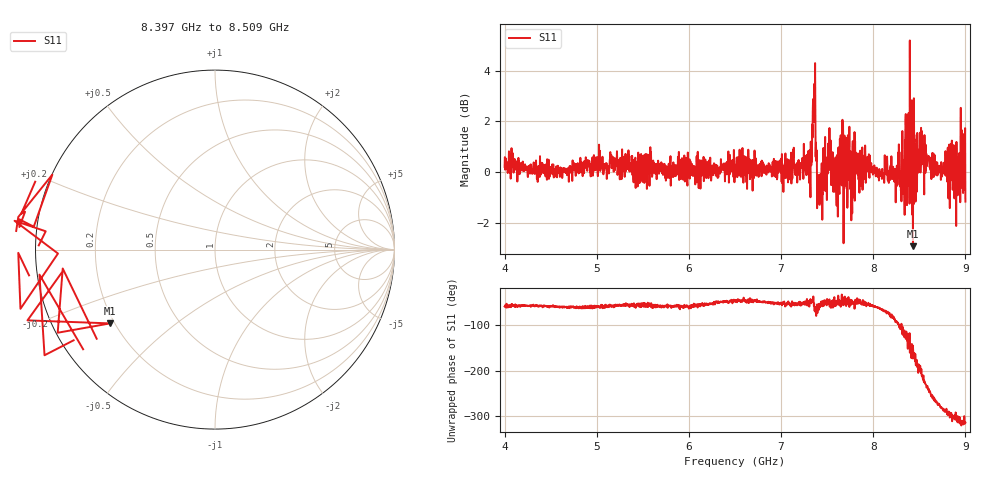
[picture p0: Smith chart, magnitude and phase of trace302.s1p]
! Created with skrf 1.8.0 (http://scikit-rf.org).
# Hz S RI R 50.0
!freq ReS11 ImS11
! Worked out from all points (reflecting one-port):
!   1601 points, 4 GHz to 9 GHz, reference 50 ohm
!   lowest |S11| = -2.9 dB at 8.431 GHz (marker M1), VSWR 6.01, Z = 9.12 - j15.3 ohm
!   phase of S11 starts at -59 deg and turns -255 deg over the sweep
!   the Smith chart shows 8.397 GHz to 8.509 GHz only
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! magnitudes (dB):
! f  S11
! 4 GHz  0.2
! 4.625 GHz  -0.2
! 5.25 GHz  -0.3
! 5.875 GHz  -0.1
! 6.5 GHz  0.1
! 7.125 GHz  0.5
! 7.294 GHz  -0.1
! 7.316 GHz  -0.5
! 7.347 GHz  2.9
! 7.356 GHz  2.6
! 7.369 GHz  4.3
! 7.4 GHz  -1.2
! 7.425 GHz  -0.1
! 7.538 GHz  1.3
! 7.591 GHz  0.6
! 7.647 GHz  1.5
! 7.75 GHz  0.2
! 7.775 GHz  1.0
! 7.822 GHz  0.3
! 8.316 GHz  1.6
! 8.334 GHz  0.2
! 8.347 GHz  1.2
! 8.375 GHz  0.5
! 8.431 GHz  -2.9
! 8.519 GHz  1.7
! 8.812 GHz  -0.4
! 8.972 GHz  0.3
! 9 GHz  -1.2
